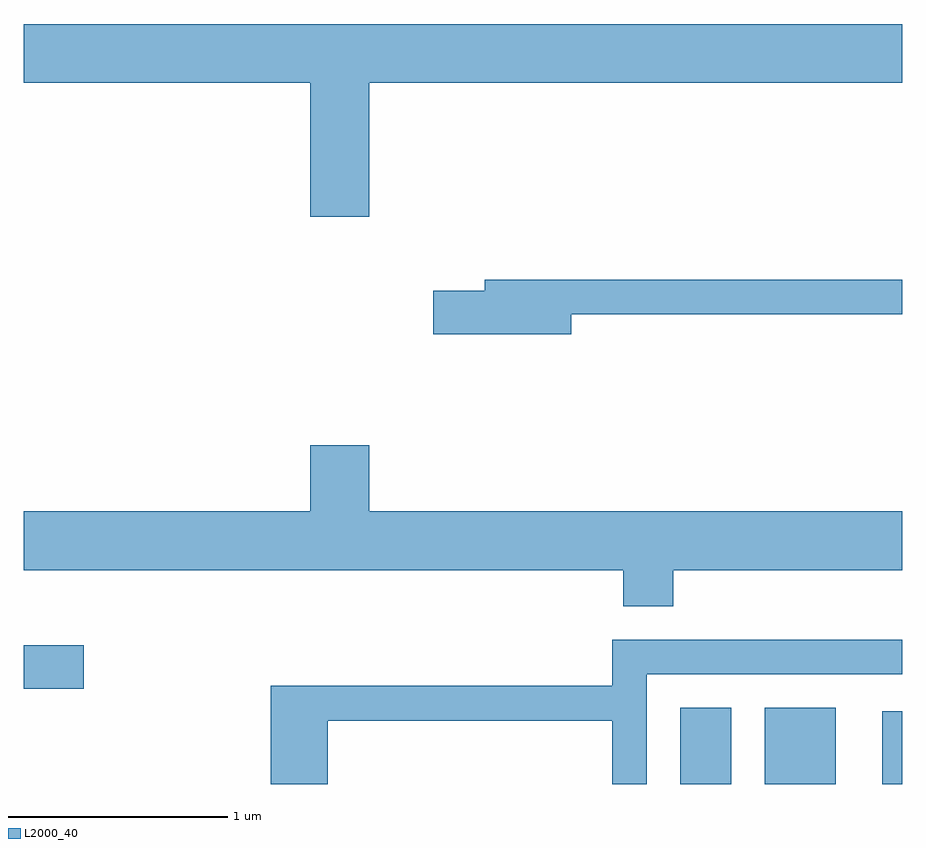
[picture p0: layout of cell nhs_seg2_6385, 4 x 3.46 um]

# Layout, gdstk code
import gdstk
lib = gdstk.Library(unit=1e-6, precision=1e-09)
def R(c, l, rs):  # rectangles x0, y0, x1, y1
    for r in rs: c.add(gdstk.rectangle(r[:2], r[2:], *l))
def P(c, l, *ps):  # polygons
    for p in ps: c.add(gdstk.Polygon(p, *l))
L2000_40 = (2000, 40)

nhs_seg2_6385 = lib.new_cell('nhs_seg2_6385')
R(nhs_seg2_6385, L2000_40, [(376.601,1031.802,376.834,1032.149), (376.986,1031.802,377.309,1032.149), (377.521,1031.802,377.611,1032.134), (373.611,1032.236,373.884,1032.434)])
P(nhs_seg2_6385, L2000_40, [(375.184,1034.996),(377.611,1034.996),(377.611,1035.264),(373.611,1035.264),(373.611,1034.996),(374.916,1034.996),(374.916,1034.386),(375.184,1034.386)],
  [(376.104,1033.941),(377.611,1033.941),(377.611,1034.099),(375.711,1034.099),(375.711,1034.049),(375.476,1034.049),(375.476,1033.851),(376.104,1033.851)],
  [(376.569,1032.776),(377.611,1032.776),(377.611,1033.044),(375.184,1033.044),(375.184,1033.344),(374.916,1033.344),(374.916,1033.044),(373.611,1033.044),(373.611,1032.776),(376.341,1032.776),(376.341,1032.611),(376.569,1032.611)],
  [(374.994,1032.091),(376.291,1032.091),(376.291,1031.802),(376.449,1031.802),(376.449,1032.301),(377.611,1032.301),(377.611,1032.459),(376.291,1032.459),(376.291,1032.249),(374.736,1032.249),(374.736,1031.802),(374.994,1031.802)])

lib.write_gds('nhs_seg2_6385.gds')
